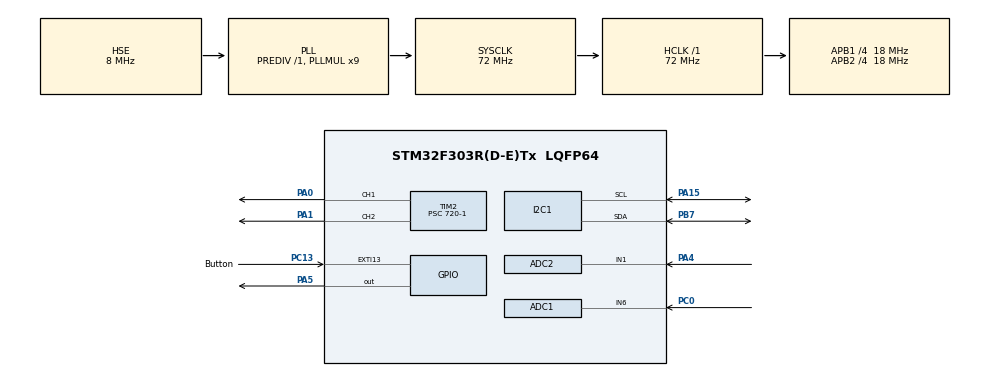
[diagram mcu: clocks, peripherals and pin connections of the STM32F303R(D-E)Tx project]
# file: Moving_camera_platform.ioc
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ADC1.Channel-1\#ChannelRegularConversion=ADC_CHANNEL_6
ADC1.ContinuousConvMode=ENABLE
ADC1.NbrOfConversionFlag=1
ADC1.Offset-1\#ChannelRegularConversion=0
ADC1.OffsetNumber-1\#ChannelRegularConversion=ADC_OFFSET_NONE
ADC1.Rank-1\#ChannelRegularConversion=1
ADC1.SamplingTime-1\#ChannelRegularConversion=ADC_SAMPLETIME_1CYCLE_5
ADC1.SamplingTimeOPAMP-1\#ChannelRegularConversion=ADC_SAMPLETIME_61CYCLES_5
ADC1.master=1
ADC2.Channel-0\#ChannelRegularConversion=ADC_CHANNEL_1
ADC2.ContinuousConvMode=ENABLE
ADC2.NbrOfConversionFlag=1
ADC2.Offset-0\#ChannelRegularConversion=0
ADC2.OffsetNumber-0\#ChannelRegularConversion=ADC_OFFSET_NONE
ADC2.Rank-0\#ChannelRegularConversion=1
ADC2.SamplingTime-0\#ChannelRegularConversion=ADC_SAMPLETIME_1CYCLE_5
ADC2.SamplingTimeOPAMP-0\#ChannelRegularConversion=ADC_SAMPLETIME_61CYCLES_5
Mcu.Family=STM32F3
Mcu.Name=STM32F303R(D-E)Tx
Mcu.Package=LQFP64
NVIC.EXTI15_10_IRQn=true\:0\:0\:false\:false\:true\:true\:true\:true
NVIC.PriorityGroup=NVIC_PRIORITYGROUP_4
PA0.Signal=S_TIM2_CH1_ETR
PA1.Signal=S_TIM2_CH2
PA13.Mode=Serial_Wire
PA13.Signal=SYS_JTMS-SWDIO
PA14.Mode=Serial_Wire
PA14.Signal=SYS_JTCK-SWCLK
PA15.Mode=I2C
PA15.Signal=I2C1_SCL
PA4.Mode=IN1-Single-Ended
PA4.Signal=ADC2_IN1
PA5.Signal=GPIO_Output
PB7.Mode=I2C
PB7.Signal=I2C1_SDA
PC0.Signal=ADCx_IN6
PC13.GPIO_Label=Button
PC13.GPIO_ModeDefaultEXTI=GPIO_MODE_IT_FALLING
PC13.GPIO_PuPd=GPIO_PULLUP
PC13.Signal=GPXTI13
PF0-OSC_IN.Mode=HSE-External-Oscillator
PF0-OSC_IN.Signal=RCC_OSC_IN
PF1-OSC_OUT.Mode=HSE-External-Oscillator
PF1-OSC_OUT.Signal=RCC_OSC_OUT
ProjectManager.HeapSize=0x200
ProjectManager.StackSize=0x400
ProjectManager.TargetToolchain=STM32CubeIDE
RCC.AHBFreq_Value=72000000
RCC.APB1CLKDivider=RCC_HCLK_DIV4
RCC.APB1Freq_Value=18000000
RCC.APB1TimFreq_Value=36000000
RCC.APB2CLKDivider=RCC_HCLK_DIV4
RCC.APB2Freq_Value=18000000
RCC.APB2TimFreq_Value=36000000
RCC.CortexFreq_Value=72000000
RCC.HCLKFreq_Value=72000000
RCC.HSE_VALUE=8000000
RCC.HSI_VALUE=8000000
RCC.LSE_VALUE=32768
RCC.PLLMUL=RCC_PLL_MUL9
RCC.PLLSourceVirtual=RCC_PLLSOURCE_HSE
RCC.SYSCLKFreq_VALUE=72000000
RCC.SYSCLKSourceVirtual=RCC_SYSCLKSOURCE_PLLCLK
RCC.USBFreq_Value=72000000
SH.ADCx_IN6.0=ADC1_IN6,IN6-Single-Ended
SH.S_TIM2_CH1_ETR.0=TIM2_CH1,PWM Generation1 CH1
SH.S_TIM2_CH2.0=TIM2_CH2,PWM Generation2 CH2
TIM2.Channel-PWM\ Generation1\ CH1=TIM_CHANNEL_1
TIM2.Channel-PWM\ Generation2\ CH2=TIM_CHANNEL_2
TIM2.Period=1000-1
TIM2.Prescaler=720-1
VP_TIM2_VS_ClockSourceINT.Mode=Internal
board=custom

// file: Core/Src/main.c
/* USER CODE BEGIN Header */
/**
  ******************************************************************************
  * @file           : main.c
  * @brief          : Main program body
  ******************************************************************************
  * @attention
  *
  * Copyright (c) 2023 STMicroelectronics.
  * All rights reserved.
  *
  * This software is licensed under terms that can be found in the LICENSE file
  * in the root directory of this software component.
  * If no LICENSE file comes with this software, it is provided AS-IS.
  *
  ******************************************************************************
  */
/* USER CODE END Header */
#include "main.h"

/* USER CODE BEGIN Includes */
#include "i2c-lcd.h" // header file to display on LCD
/* USER CODE END Includes */

ADC_HandleTypeDef hadc1;
ADC_HandleTypeDef hadc2;

I2C_HandleTypeDef hi2c1;

TIM_HandleTypeDef htim2;

/* USER CODE BEGIN PV */
uint16_t readValueX; // holds the x axis info of joystick
uint16_t readValueY; // holds the y axis info of joystick
/* USER CODE END PV */

void SystemClock_Config(void);
static void MX_GPIO_Init(void);
static void MX_TIM2_Init(void);
static void MX_ADC1_Init(void);
static void MX_ADC2_Init(void);
static void MX_I2C1_Init(void);

/* USER CODE BEGIN 0 */
static uint8_t i =	50; // to control up and down movement
static uint8_t j = 50;  // to control left and right movement
static uint8_t m =	18; // to control in auto scan mode
int move_clockwise = 0;
int x=0; // switchs the modes

void servoA(int angle){ // Controls top servo motor
	htim2.Instance -> CCR1=angle;
}
void servoB(int angle){ // Controls bottom servo motor
	htim2.Instance -> CCR2=angle;
}

void write_mode0(){	// Display MODE 0
	lcd_clear(); // clear the screen
	lcd_put_cur(0, 0); // set cursor position to first line first character
	lcd_send_string ("MODE "); // send a string to display
	lcd_send_data(0+48); // send a number to display
	lcd_put_cur(1, 0); // set cursor position to second line first character
	lcd_send_string("NO INPUT"); //send string to display
}
void write_mode1(){ // Display MODE 1
	lcd_clear();
	lcd_put_cur(0, 0);
	lcd_send_string ("MODE ");
	lcd_send_data(1+48);
	lcd_put_cur(1, 0);
	lcd_send_string("USE JOYSTICK");
}
void write_mode2(){ // Display MODE 2
	lcd_clear();
	lcd_put_cur(0, 0);
	lcd_send_string ("MODE ");
	lcd_send_data(2+48);
	lcd_put_cur(1, 0);
	lcd_send_string("AUTO SCAN");
}

// Button interrupt function to switch between the modes
void HAL_GPIO_EXTI_Callback(uint16_t GPIO_Pin)
{
  /* Prevent unused argument(s) compilation warning */
  if(GPIO_Pin == Button_Pin)
	  x = (x+1)%3;
  if(x==0){
	  write_mode0();
  }
  if(x==1){
	  HAL_GPIO_WritePin(GPIOA,GPIO_PIN_5,GPIO_PIN_SET);
	  write_mode1();
  }

  if(x==2){
	  HAL_GPIO_WritePin(GPIOA,GPIO_PIN_5,GPIO_PIN_RESET);
	  write_mode2();
  }

  /* NOTE: This function should not be modified, when the callback is needed,
           the HAL_GPIO_EXTI_Callback could be implemented in the user file
   */
}

/* USER CODE END 0 */

int main(void)
{

  /* MCU Configuration--------------------------------------------------------*/

  /* Reset of all peripherals, Initializes the Flash interface and the Systick. */
  HAL_Init();

  /* Configure the system clock */
  SystemClock_Config();

  /* Initialize all configured peripherals */
  MX_GPIO_Init();
  MX_TIM2_Init();
  MX_ADC1_Init();
  MX_ADC2_Init();
  MX_I2C1_Init();
  /* USER CODE BEGIN 2 */
  HAL_TIM_PWM_Start (&htim2, TIM_CHANNEL_1);
  HAL_TIM_PWM_Start (&htim2, TIM_CHANNEL_2);
  HAL_ADC_Start(&hadc1);
  HAL_ADC_Start(&hadc2);

  lcd_init ();
  lcd_send_string ("ELE");
  lcd_send_data(4+48);
  lcd_send_data(1+48);
  lcd_send_data(7+48);
  lcd_send_string (" PROJECT");
  lcd_put_cur(1, 0);
  lcd_send_string("SERVET CELIK");
  HAL_Delay(2000);
  lcd_clear();
  if(x==0){
	  write_mode0();
  }
  /* USER CODE END 2 */

  /* Infinite loop */
  while (1)
  {
 	  while(x==0){ // if MODE0 active, enter sleep mode and wait for an interrupt
 		 HAL_PWR_EnterSLEEPMode(PWR_MAINREGULATOR_ON, PWR_SLEEPENTRY_WFI);
 		 HAL_ResumeTick();
 		  //HAL_GPIO_TogglePin(GPIOA,GPIO_PIN_5);
 	  	  //HAL_Delay(250);
 	  }

 	  while(x == 1){// if MODE1 active
 		  // get data from joystick
 		  HAL_ADC_PollForConversion(&hadc1,1000);
 		  readValueY = HAL_ADC_GetValue(&hadc1);
 		  HAL_ADC_PollForConversion(&hadc2,1000);
 		  readValueX = HAL_ADC_GetValue(&hadc2);

 		  if((readValueX<3500) && (readValueX>600) && (readValueY>3500)){
 			  // if +y input recieved
 			  if(i>15){// is the limit exceeded
 				  servoA(i); // move top servo
 				  HAL_Delay(10);
 				  i--;
 			  }
 		  }
 		  else if((readValueX<3500) && (readValueX>600) && (readValueY<800)){
 			  if(i<65){
 				  servoA(i);
 				  HAL_Delay(10);
 				  i++;
 			  }
 		  }
 		  else if((readValueY<3500) && (readValueY>600) && (readValueX<800)){
 			  if(j>21){ // if -x input recieved
 				  servoB(j); // move bottom servo motor
 				  HAL_Delay(10);
 				  j--;
 			  }
 		  }

 		  else if((readValueY<3500) && (readValueY>600) && (readValueX>3500)){
 			  if(j<122){
 				  servoB(j);
 				  HAL_Delay(10);
 				  j++;
 			  }
 		  }

 		  else if((readValueX>3500) && (readValueY>3500)){
 			  if(j<122){
 				  servoB(j);
 				  HAL_Delay(10);
 				  j++;
 			  }
 			  if(i>15){
 				  servoA(i);
 				  HAL_Delay(10);
 				  i--;
 			  }
 		  }

 		  else if((readValueX>3500) && (readValueY<800)){
 			  if(j<122){
 				  servoB(j);
 				  HAL_Delay(10);
 				  j++;
 			  }
 			  if(i<65){
 				  servoA(i);
 				  HAL_Delay(10);
 				  i++;
 			  }
 		  }

 		  else if((readValueX<800) && (readValueY>3500)){
 			  if(j>21){
 				  servoB(j);
 				  HAL_Delay(10);
 				  j--;
 			  }
 			  if(i>15){
 				  servoA(i);
 				  HAL_Delay(10);
 				  i--;
 			  }
 		  }
 		  else if((readValueX<800) && (readValueY<800)){
 			  if(j>21){
 				  servoB(j);
 				  HAL_Delay(10);
 				  j--;
 			  }
 			  if(i<65){
 				  servoA(i);
 				  HAL_Delay(10);
 				  i++;
 			  }
 		  }
 	  }

 	  while(x == 2){ // if MODE2 active
 		  m = 23;
 		  move_clockwise = 1;// determines which way the camera will move
 		  HAL_Delay(1000);
 		  while(x==2){
 			  servoB(m);
 			  HAL_Delay(100);
 			  if(move_clockwise == 1 && m<122){
 				  m++;
 				  if(m==121){
 					  move_clockwise = 0;
 					  HAL_Delay(1000);
 				  }
 			  }
 			  else if(move_clockwise==0 && m>21){
 				  m--;
 				  if(m==22){
 					  move_clockwise = 1;
 					  HAL_Delay(1000);
 				  }
 			  }
 		  }

 	  }

   }
}

void SystemClock_Config(void)
{
  RCC_OscInitTypeDef RCC_OscInitStruct = {0};
  RCC_ClkInitTypeDef RCC_ClkInitStruct = {0};
  RCC_PeriphCLKInitTypeDef PeriphClkInit = {0};

  /** Initializes the RCC Oscillators according to the specified parameters
  * in the RCC_OscInitTypeDef structure.
  */
  RCC_OscInitStruct.OscillatorType = RCC_OSCILLATORTYPE_HSI|RCC_OSCILLATORTYPE_HSE;
  RCC_OscInitStruct.HSEState = RCC_HSE_ON;
  RCC_OscInitStruct.HSIState = RCC_HSI_ON;
  RCC_OscInitStruct.HSICalibrationValue = RCC_HSICALIBRATION_DEFAULT;
  RCC_OscInitStruct.PLL.PLLState = RCC_PLL_ON;
  RCC_OscInitStruct.PLL.PLLSource = RCC_PLLSOURCE_HSE;
  RCC_OscInitStruct.PLL.PLLMUL = RCC_PLL_MUL9;
  RCC_OscInitStruct.PLL.PREDIV = RCC_PREDIV_DIV1;
  if (HAL_RCC_OscConfig(&RCC_OscInitStruct) != HAL_OK)
  {
    Error_Handler();
  }

  /** Initializes the CPU, AHB and APB buses clocks
  */
  RCC_ClkInitStruct.ClockType = RCC_CLOCKTYPE_HCLK|RCC_CLOCKTYPE_SYSCLK
                              |RCC_CLOCKTYPE_PCLK1|RCC_CLOCKTYPE_PCLK2;
  RCC_ClkInitStruct.SYSCLKSource = RCC_SYSCLKSOURCE_PLLCLK;
  RCC_ClkInitStruct.AHBCLKDivider = RCC_SYSCLK_DIV1;
  RCC_ClkInitStruct.APB1CLKDivider = RCC_HCLK_DIV4;
  RCC_ClkInitStruct.APB2CLKDivider = RCC_HCLK_DIV4;

  if (HAL_RCC_ClockConfig(&RCC_ClkInitStruct, FLASH_LATENCY_2) != HAL_OK)
  {
    Error_Handler();
  }
  PeriphClkInit.PeriphClockSelection = RCC_PERIPHCLK_I2C1|RCC_PERIPHCLK_ADC12
                              |RCC_PERIPHCLK_TIM2;
  PeriphClkInit.Adc12ClockSelection = RCC_ADC12PLLCLK_DIV1;
  PeriphClkInit.I2c1ClockSelection = RCC_I2C1CLKSOURCE_HSI;
  PeriphClkInit.Tim2ClockSelection = RCC_TIM2CLK_HCLK;
  if (HAL_RCCEx_PeriphCLKConfig(&PeriphClkInit) != HAL_OK)
  {
    Error_Handler();
  }
}

static void MX_ADC1_Init(void)
{

  ADC_MultiModeTypeDef multimode = {0};
  ADC_ChannelConfTypeDef sConfig = {0};

  /** Common config
  */
  hadc1.Instance = ADC1;
  hadc1.Init.ClockPrescaler = ADC_CLOCK_ASYNC_DIV1;
  hadc1.Init.Resolution = ADC_RESOLUTION_12B;
  hadc1.Init.ScanConvMode = ADC_SCAN_DISABLE;
  hadc1.Init.ContinuousConvMode = ENABLE;
  hadc1.Init.DiscontinuousConvMode = DISABLE;
  hadc1.Init.ExternalTrigConvEdge = ADC_EXTERNALTRIGCONVEDGE_NONE;
  hadc1.Init.ExternalTrigConv = ADC_SOFTWARE_START;
  hadc1.Init.DataAlign = ADC_DATAALIGN_RIGHT;
  hadc1.Init.NbrOfConversion = 1;
  hadc1.Init.DMAContinuousRequests = DISABLE;
  hadc1.Init.EOCSelection = ADC_EOC_SINGLE_CONV;
  hadc1.Init.LowPowerAutoWait = DISABLE;
  hadc1.Init.Overrun = ADC_OVR_DATA_OVERWRITTEN;
  if (HAL_ADC_Init(&hadc1) != HAL_OK)
  {
    Error_Handler();
  }

  /** Configure the ADC multi-mode
  */
  multimode.Mode = ADC_MODE_INDEPENDENT;
  if (HAL_ADCEx_MultiModeConfigChannel(&hadc1, &multimode) != HAL_OK)
  {
    Error_Handler();
  }

  /** Configure Regular Channel
  */
  sConfig.Channel = ADC_CHANNEL_6;
  sConfig.Rank = ADC_REGULAR_RANK_1;
  sConfig.SingleDiff = ADC_SINGLE_ENDED;
  sConfig.SamplingTime = ADC_SAMPLETIME_1CYCLE_5;
  sConfig.OffsetNumber = ADC_OFFSET_NONE;
  sConfig.Offset = 0;
  if (HAL_ADC_ConfigChannel(&hadc1, &sConfig) != HAL_OK)
  {
    Error_Handler();
  }

}

static void MX_ADC2_Init(void)
{

  ADC_ChannelConfTypeDef sConfig = {0};

  /** Common config
  */
  hadc2.Instance = ADC2;
  hadc2.Init.ClockPrescaler = ADC_CLOCK_ASYNC_DIV1;
  hadc2.Init.Resolution = ADC_RESOLUTION_12B;
  hadc2.Init.ScanConvMode = ADC_SCAN_DISABLE;
  hadc2.Init.ContinuousConvMode = ENABLE;
  hadc2.Init.DiscontinuousConvMode = DISABLE;
  hadc2.Init.ExternalTrigConvEdge = ADC_EXTERNALTRIGCONVEDGE_NONE;
  hadc2.Init.ExternalTrigConv = ADC_SOFTWARE_START;
  hadc2.Init.DataAlign = ADC_DATAALIGN_RIGHT;
  hadc2.Init.NbrOfConversion = 1;
  hadc2.Init.DMAContinuousRequests = DISABLE;
  hadc2.Init.EOCSelection = ADC_EOC_SINGLE_CONV;
  hadc2.Init.LowPowerAutoWait = DISABLE;
  hadc2.Init.Overrun = ADC_OVR_DATA_OVERWRITTEN;
  if (HAL_ADC_Init(&hadc2) != HAL_OK)
  {
    Error_Handler();
  }

  /** Configure Regular Channel
  */
  sConfig.Channel = ADC_CHANNEL_1;
  sConfig.Rank = ADC_REGULAR_RANK_1;
  sConfig.SingleDiff = ADC_SINGLE_ENDED;
  sConfig.SamplingTime = ADC_SAMPLETIME_1CYCLE_5;
  sConfig.OffsetNumber = ADC_OFFSET_NONE;
  sConfig.Offset = 0;
  if (HAL_ADC_ConfigChannel(&hadc2, &sConfig) != HAL_OK)
  {
    Error_Handler();
  }

}

static void MX_I2C1_Init(void)
{

  hi2c1.Instance = I2C1;
  hi2c1.Init.Timing = 0x2000090E;
  hi2c1.Init.OwnAddress1 = 0;
  hi2c1.Init.AddressingMode = I2C_ADDRESSINGMODE_7BIT;
  hi2c1.Init.DualAddressMode = I2C_DUALADDRESS_DISABLE;
  hi2c1.Init.OwnAddress2 = 0;
  hi2c1.Init.OwnAddress2Masks = I2C_OA2_NOMASK;
  hi2c1.Init.GeneralCallMode = I2C_GENERALCALL_DISABLE;
  hi2c1.Init.NoStretchMode = I2C_NOSTRETCH_DISABLE;
  if (HAL_I2C_Init(&hi2c1) != HAL_OK)
  {
    Error_Handler();
  }

  /** Configure Analogue filter
  */
  if (HAL_I2CEx_ConfigAnalogFilter(&hi2c1, I2C_ANALOGFILTER_ENABLE) != HAL_OK)
  {
    Error_Handler();
  }

  /** Configure Digital filter
  */
  if (HAL_I2CEx_ConfigDigitalFilter(&hi2c1, 0) != HAL_OK)
  {
    Error_Handler();
  }

}

static void MX_TIM2_Init(void)
{

  TIM_ClockConfigTypeDef sClockSourceConfig = {0};
  TIM_MasterConfigTypeDef sMasterConfig = {0};
  TIM_OC_InitTypeDef sConfigOC = {0};

  htim2.Instance = TIM2;
  htim2.Init.Prescaler = 720-1;
  htim2.Init.CounterMode = TIM_COUNTERMODE_UP;
  htim2.Init.Period = 1000-1;
  htim2.Init.ClockDivision = TIM_CLOCKDIVISION_DIV1;
  htim2.Init.AutoReloadPreload = TIM_AUTORELOAD_PRELOAD_DISABLE;
  if (HAL_TIM_Base_Init(&htim2) != HAL_OK)
  {
    Error_Handler();
  }
  sClockSourceConfig.ClockSource = TIM_CLOCKSOURCE_INTERNAL;
  if (HAL_TIM_ConfigClockSource(&htim2, &sClockSourceConfig) != HAL_OK)
  {
    Error_Handler();
  }
  if (HAL_TIM_PWM_Init(&htim2) != HAL_OK)
  {
    Error_Handler();
  }
  sMasterConfig.MasterOutputTrigger = TIM_TRGO_RESET;
  sMasterConfig.MasterSlaveMode = TIM_MASTERSLAVEMODE_DISABLE;
  if (HAL_TIMEx_MasterConfigSynchronization(&htim2, &sMasterConfig) != HAL_OK)
  {
    Error_Handler();
  }
  sConfigOC.OCMode = TIM_OCMODE_PWM1;
  sConfigOC.Pulse = 0;
  sConfigOC.OCPolarity = TIM_OCPOLARITY_HIGH;
  sConfigOC.OCFastMode = TIM_OCFAST_DISABLE;
  if (HAL_TIM_PWM_ConfigChannel(&htim2, &sConfigOC, TIM_CHANNEL_1) != HAL_OK)
  {
    Error_Handler();
  }
  if (HAL_TIM_PWM_ConfigChannel(&htim2, &sConfigOC, TIM_CHANNEL_2) != HAL_OK)
  {
    Error_Handler();
  }
  HAL_TIM_MspPostInit(&htim2);

}

static void MX_GPIO_Init(void)
{
  GPIO_InitTypeDef GPIO_InitStruct = {0};

  /* GPIO Ports Clock Enable */
  __HAL_RCC_GPIOC_CLK_ENABLE();
  __HAL_RCC_GPIOF_CLK_ENABLE();
  __HAL_RCC_GPIOA_CLK_ENABLE();
  __HAL_RCC_GPIOB_CLK_ENABLE();

  /*Configure GPIO pin Output Level */
  HAL_GPIO_WritePin(GPIOA, GPIO_PIN_5, GPIO_PIN_RESET);

  /*Configure GPIO pin : Button_Pin */
  GPIO_InitStruct.Pin = Button_Pin;
  GPIO_InitStruct.Mode = GPIO_MODE_IT_FALLING;
  GPIO_InitStruct.Pull = GPIO_PULLUP;
  HAL_GPIO_Init(Button_GPIO_Port, &GPIO_InitStruct);

  /*Configure GPIO pin : PA5 */
  GPIO_InitStruct.Pin = GPIO_PIN_5;
  GPIO_InitStruct.Mode = GPIO_MODE_OUTPUT_PP;
  GPIO_InitStruct.Pull = GPIO_NOPULL;
  GPIO_InitStruct.Speed = GPIO_SPEED_FREQ_LOW;
  HAL_GPIO_Init(GPIOA, &GPIO_InitStruct);

  /* EXTI interrupt init*/
  HAL_NVIC_SetPriority(EXTI15_10_IRQn, 0, 0);
  HAL_NVIC_EnableIRQ(EXTI15_10_IRQn);

}

void Error_Handler(void)
{
  __disable_irq();
  while (1)
  {
  }
}
